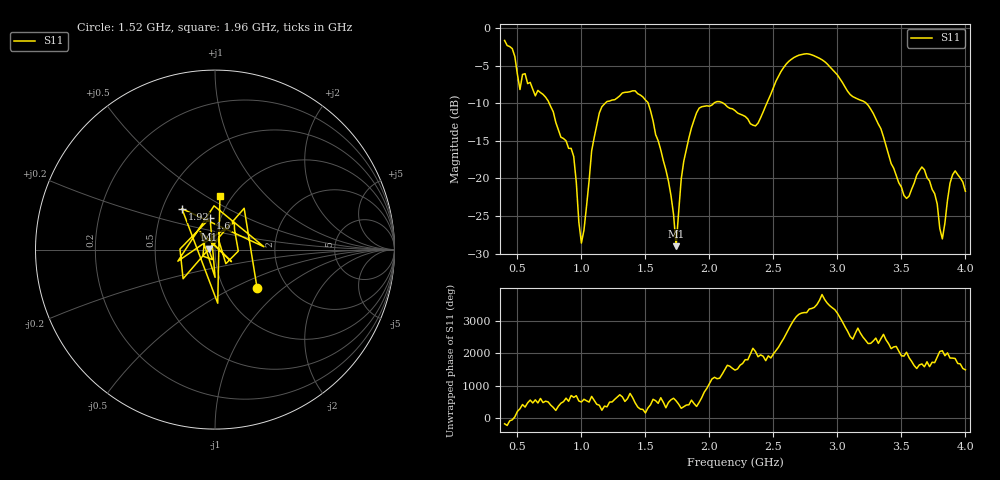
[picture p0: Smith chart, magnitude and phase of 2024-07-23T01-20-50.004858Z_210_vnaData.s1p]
!Created with skrf (http://scikit-rf.org).
# Hz S RI R 50.0
!freq ReS11 ImS11
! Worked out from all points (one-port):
!   181 points, 400 MHz to 4 GHz, reference 50 ohm
!   lowest |S11| = -29.0 dB at 1.74 GHz (marker M1), VSWR 1.07, Z = 46.6 + j0.289 ohm
!   |S11| at or under -10 dB: 748 MHz to 1.187 GHz (438.9 MHz wide, 45.4 % of centre); 1.521 GHz to 2.036 GHz (514.5 MHz wide, 28.9 % of centre); 3.224 GHz to end of sweep (the widest 3 of 4)
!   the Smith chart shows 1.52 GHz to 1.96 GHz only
!   S11 on the Smith chart (normalised r, x): 1.52 GHz: 1.42, -0.68; 1.6 GHz: 0.89, +0.32; 1.92 GHz: 0.63, +0.31; 1.96 GHz: 0.88, +0.58
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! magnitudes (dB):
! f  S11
! 400 MHz  -1.7
! 480 MHz  -3.8
! 520 MHz  -8.2
! 560 MHz  -6.1
! 860 MHz  -14.7
! 940 MHz  -17.1
! 1 GHz  -28.6
! 1.08 GHz  -16.4
! 1.14 GHz  -11.3
! 1.3 GHz  -9.0
! 1.52 GHz  -9.9
! 1.6 GHz  -15.0
! 1.7 GHz  -22.3
! 1.74 GHz  -29.0
! 1.76 GHz  -24.4
! 1.8 GHz  -17.7
! 1.92 GHz  -10.7
! 1.96 GHz  -10.4
! 2.2 GHz  -11.0
! 2.36 GHz  -13.0
! 2.66 GHz  -3.9
! 3.1 GHz  -8.9
! 3.28 GHz  -11.4
! 3.56 GHz  -22.4
! 3.68 GHz  -18.9
! 3.82 GHz  -28.1
! 3.9 GHz  -19.5
! 4 GHz  -21.7
